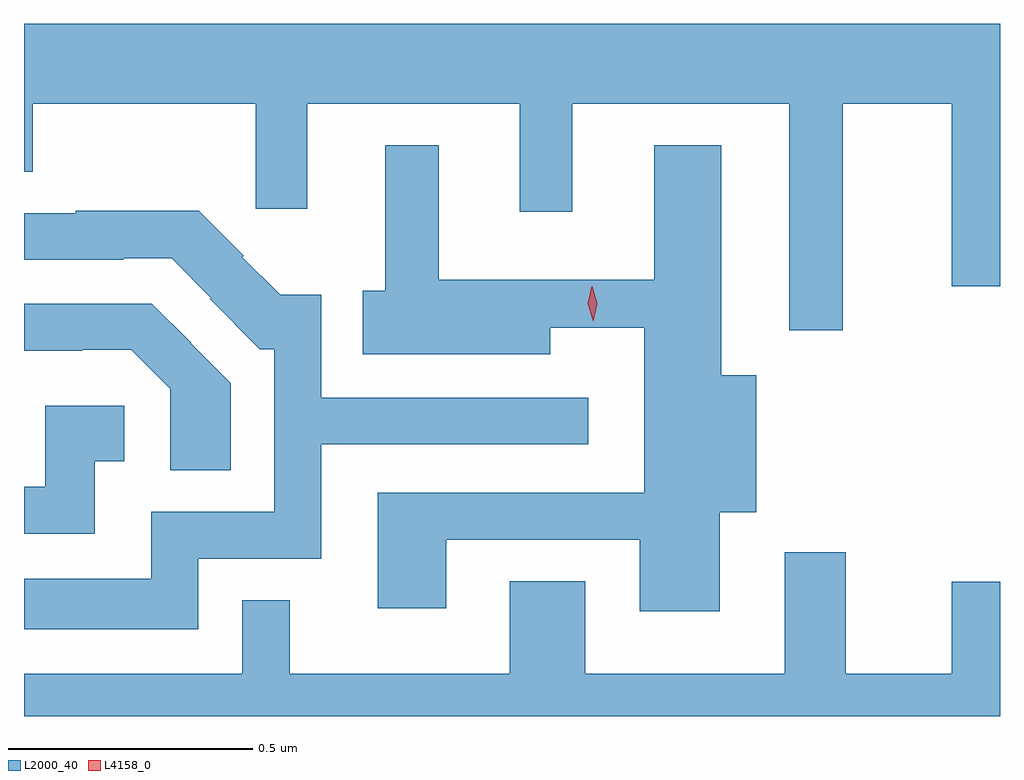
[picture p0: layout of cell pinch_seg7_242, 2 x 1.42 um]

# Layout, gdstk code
import gdstk
lib = gdstk.Library(unit=1e-6, precision=1e-09)
def P(c, l, *ps):  # polygons
    for p in ps: c.add(gdstk.Polygon(p, *l))
L2000_40 = (2000, 40)
L4158_0 = (4158, 0)

pinch_seg7_242 = lib.new_cell('pinch_seg7_242')
P(pinch_seg7_242, L2000_40, [(848.101,1071.212),(848.324,1071.212),(848.324,1070.838),(848.423,1070.838),(848.423,1071.376),(846.423,1071.376),(846.423,1071.073),(846.441,1071.073),(846.441,1071.212),(846.898,1071.212),(846.898,1070.997),(847.003,1070.997),(847.003,1071.212),(847.439,1071.212),(847.439,1070.991),(847.546,1070.991),(847.546,1071.212),(847.991,1071.212),(847.991,1070.748),(848.101,1070.748)],
  [(847.849,1070.375),(847.924,1070.375),(847.924,1070.656),(847.852,1070.656),(847.852,1071.127),(847.715,1071.127),(847.715,1070.851),(847.273,1070.851),(847.273,1071.127),(847.163,1071.127),(847.163,1070.829),(847.117,1070.829),(847.117,1070.699),(847.501,1070.699),(847.501,1070.753),(847.694,1070.753),(847.694,1070.415),(847.148,1070.415),(847.148,1070.178),(847.288,1070.178),(847.288,1070.319),(847.685,1070.319),(847.685,1070.172),(847.849,1070.172)],
  [(846.78,1070.28),(847.032,1070.28),(847.032,1070.514),(847.579,1070.514),(847.579,1070.61),(847.032,1070.61),(847.032,1070.821),(846.948,1070.821),(846.87,1070.898),(846.873,1070.901),(846.781,1070.993),(846.529,1070.993),(846.529,1070.988),(846.423,1070.988),(846.423,1070.892),(846.626,1070.892),(846.626,1070.895),(846.726,1070.895),(846.807,1070.814),(846.804,1070.812),(846.906,1070.709),(846.936,1070.709),(846.936,1070.376),(846.684,1070.376),(846.684,1070.239),(846.423,1070.239),(846.423,1070.135),(846.78,1070.135)],
  [(846.847,1070.639),(846.765,1070.721),(846.766,1070.722),(846.685,1070.802),(846.423,1070.802),(846.423,1070.706),(846.542,1070.706),(846.542,1070.708),(846.643,1070.708),(846.723,1070.628),(846.723,1070.461),(846.847,1070.461)],
  [(846.568,1070.48),(846.628,1070.48),(846.628,1070.593),(846.467,1070.593),(846.467,1070.427),(846.423,1070.427),(846.423,1070.331),(846.568,1070.331)],
  [(848.423,1070.233),(848.324,1070.233),(848.324,1070.044),(848.107,1070.044),(848.107,1070.293),(847.982,1070.293),(847.982,1070.044),(847.573,1070.044),(847.573,1070.234),(847.418,1070.234),(847.418,1070.044),(846.968,1070.044),(846.968,1070.195),(846.87,1070.195),(846.87,1070.044),(846.423,1070.044),(846.423,1069.957),(848.423,1069.957)])
P(pinch_seg7_242, L4158_0, [(847.589,1070.766),(847.589,1070.766),(847.578,1070.802),(847.586,1070.838),(847.586,1070.838),(847.587,1070.838),(847.598,1070.802),(847.589,1070.766)])

lib.write_gds('pinch_seg7_242.gds')
